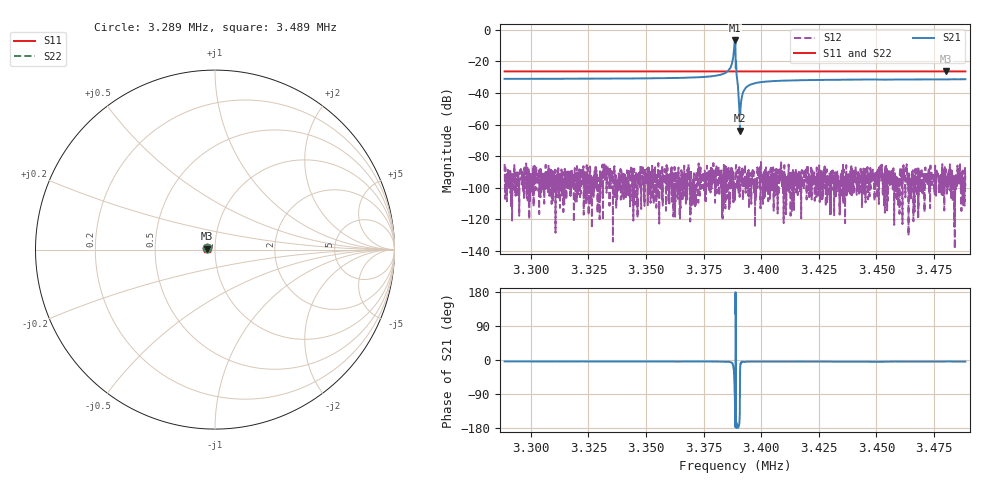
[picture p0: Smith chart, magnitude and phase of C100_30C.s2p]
# Hz S dB R 50.000
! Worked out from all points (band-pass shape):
!   6401 points, 3.289 MHz to 3.489 MHz, reference 50 ohm
!   highest |S21| = -6.88 dB at 3.389 MHz (marker M1); lowest = -63.9 dB at 3.391 MHz (marker M2)
!   |S21| within 3 dB of the highest: 3.388314 MHz to 3.388764 MHz (450.9 Hz wide, 0.0133 % of centre)
!   lowest |S11| = -26.5 dB at 3.48 MHz (marker M3), VSWR 1.10, Z = 45.5 + j0.434 ohm
!   |S11| at or under -10 dB: start of sweep to end of sweep
!   |S22| runs from -26.5 to -26.4 dB; largest |S21 - S12| = 0.45
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3288594  -26.44 172.6  -31.13 -3.8  -85.01 -4.6  -26.45 166.8
3321938  -26.44 172.8  -31.04 -3.8  -95.24 106.8  -26.46 167.1
3355282  -26.44 173.1  -30.73 -4.0  -85.38 39.6  -26.47 167.4
3382063  -26.44 173.4  -28.61 -4.3  -90.65 139.5  -26.48 167.7
3385719  -26.45 173.4  -25.93 -4.7  -90.07 69.6  -26.48 167.8
3386875  -26.45 173.4  -23.24 -6.2  -95.88 151.4  -26.49 167.7
3387469  -26.45 173.4  -20.13 -8.3  -89.25 52.2  -26.48 167.8
3387844  -26.44 173.4  -17.24 -16.5  -93.15 -5.9  -26.48 167.8
3388594  -26.45 173.4  -6.88 -116.1  -100.88 -58.6  -26.46 167.7
3389250  -26.44 173.4  -27.90 -167.3  -94.09 76.2  -26.48 167.8
3389906  -26.45 173.4  -36.54 -178.1  -92.28 60.1  -26.48 167.8
3390219  -26.44 173.4  -42.83 -174.8  -99.99 113.8  -26.48 167.8
3390719  -26.44 173.5  -63.85 -100.6  -101.00 35.8  -26.48 167.8
3391344  -26.45 173.4  -44.55 -6.5  -92.09 17.5  -26.48 167.8
3392125  -26.44 173.4  -39.55 -4.8  -102.86 78.9  -26.48 167.8
3393000  -26.45 173.5  -37.29 -4.7  -87.96 64.3  -26.48 167.8
3396406  -26.45 173.5  -34.23 -4.1  -89.40 15.4  -26.48 167.9
3404750  -26.45 173.6  -32.61 -4.2  -98.00 -129.4  -26.49 168.0
3421938  -26.45 173.7  -31.90 -4.1  -97.28 3.0  -26.50 168.1
3455282  -26.46 174.0  -31.62 -4.3  -90.22 -7.2  -26.51 168.4
3480156  -26.47 174.3  -31.50 -4.0  -88.26 -55.5  -26.52 168.6
3488594  -26.46 174.3  -31.40 -4.3  -99.02 -22.3  -26.52 168.7
